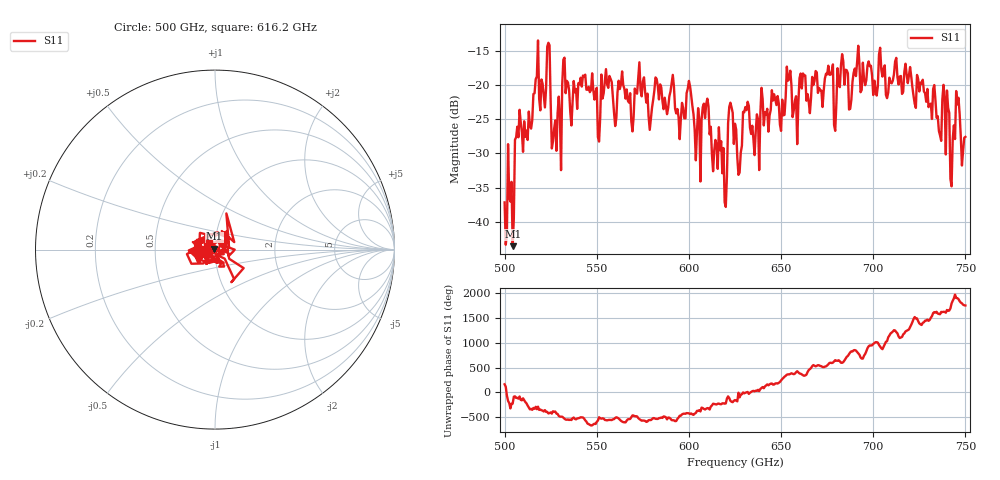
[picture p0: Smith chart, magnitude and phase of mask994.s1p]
!Created with skrf (http://scikit-rf.org).
# GHz S MA R 50.0
!freq magS11 angS11
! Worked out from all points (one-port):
!   401 points, 500 GHz to 750 GHz, reference 50 ohm
!   lowest |S11| = -43.5 dB at 504.4 GHz (marker M1), VSWR 1.01, Z = 49.5 + j0.472 ohm
!   |S11| at or under -10 dB: start of sweep to end of sweep
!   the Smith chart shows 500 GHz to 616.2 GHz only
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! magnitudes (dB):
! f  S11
! 500 GHz  -37.2
! 504.4 GHz  -43.5
! 506.9 GHz  -26.1
! 513.8 GHz  -26.0
! 516.9 GHz  -19.2
! 523.8 GHz  -13.8
! 526.9 GHz  -26.4
! 531.2 GHz  -19.9
! 562.5 GHz  -20.6
! 593.8 GHz  -23.5
! 600 GHz  -19.4
! 605 GHz  -23.4
! 609.4 GHz  -22.8
! 619.4 GHz  -37.1
! 622.5 GHz  -22.6
! 625 GHz  -25.7
! 627.5 GHz  -32.8
! 630.6 GHz  -23.2
! 636.9 GHz  -24.3
! 656.2 GHz  -24.7
! 683.8 GHz  -16.6
! 687.5 GHz  -23.5
! 691.2 GHz  -16.7
! 718.8 GHz  -19.7
! 739.4 GHz  -30.2
! 743.1 GHz  -27.9
! 745.6 GHz  -22.8
! 750 GHz  -27.6
